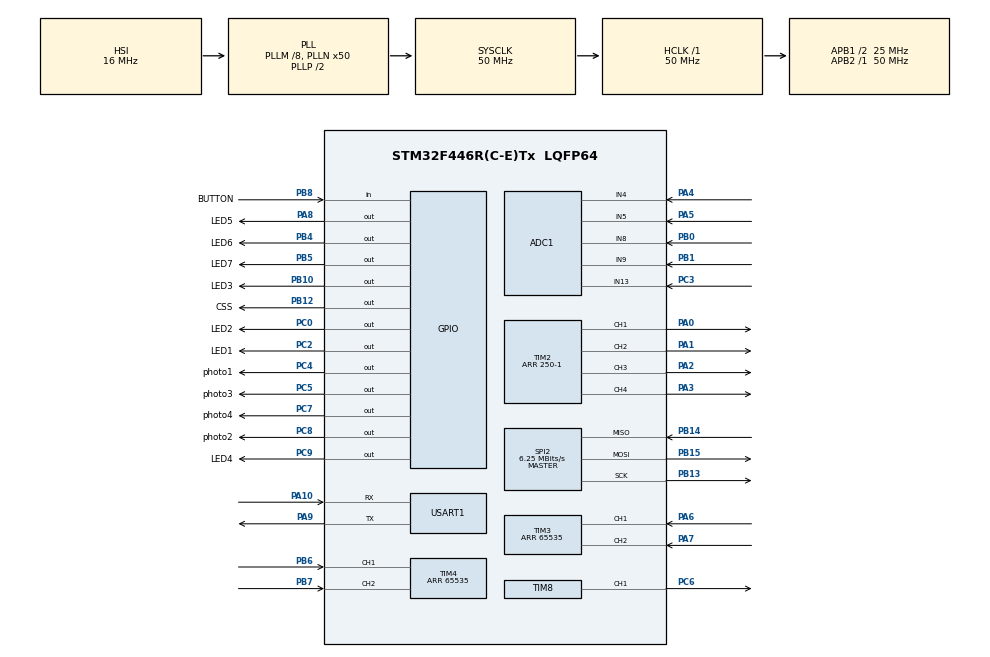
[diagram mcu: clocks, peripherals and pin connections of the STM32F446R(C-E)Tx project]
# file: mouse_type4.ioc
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ADC1.Channel-0\#ChannelRegularConversion=ADC_CHANNEL_13
ADC1.Channel-1\#ChannelRegularConversion=ADC_CHANNEL_8
ADC1.Channel-2\#ChannelRegularConversion=ADC_CHANNEL_8
ADC1.Channel-3\#ChannelRegularConversion=ADC_CHANNEL_5
ADC1.Channel-4\#ChannelRegularConversion=ADC_CHANNEL_5
ADC1.Channel-5\#ChannelRegularConversion=ADC_CHANNEL_9
ADC1.Channel-6\#ChannelRegularConversion=ADC_CHANNEL_9
ADC1.Channel-7\#ChannelRegularConversion=ADC_CHANNEL_4
ADC1.Channel-8\#ChannelRegularConversion=ADC_CHANNEL_4
ADC1.Channel-9\#ChannelRegularConversion=ADC_CHANNEL_13
ADC1.ContinuousConvMode=DISABLE
ADC1.DMAContinuousRequests=ENABLE
ADC1.DiscontinuousConvMode=ENABLE
ADC1.EOCSelection=ADC_EOC_SEQ_CONV
ADC1.EnableAnalogWatchDog=true
ADC1.ExternalTrigConv=ADC_EXTERNALTRIGCONV_T1_CC3
ADC1.ExternalTrigConvEdge=ADC_EXTERNALTRIGCONVEDGE_FALLING
ADC1.InjNumberOfConversion=0
ADC1.NbrOfConversion=10
ADC1.NbrOfConversionFlag=1
ADC1.Rank-0\#ChannelRegularConversion=1
ADC1.Rank-1\#ChannelRegularConversion=2
ADC1.Rank-2\#ChannelRegularConversion=3
ADC1.Rank-3\#ChannelRegularConversion=4
ADC1.Rank-4\#ChannelRegularConversion=5
ADC1.Rank-5\#ChannelRegularConversion=6
ADC1.Rank-6\#ChannelRegularConversion=7
ADC1.Rank-7\#ChannelRegularConversion=8
ADC1.Rank-8\#ChannelRegularConversion=9
ADC1.Rank-9\#ChannelRegularConversion=10
ADC1.SamplingTime-0\#ChannelRegularConversion=ADC_SAMPLETIME_28CYCLES
ADC1.SamplingTime-1\#ChannelRegularConversion=ADC_SAMPLETIME_28CYCLES
ADC1.SamplingTime-2\#ChannelRegularConversion=ADC_SAMPLETIME_28CYCLES
ADC1.SamplingTime-3\#ChannelRegularConversion=ADC_SAMPLETIME_28CYCLES
ADC1.SamplingTime-4\#ChannelRegularConversion=ADC_SAMPLETIME_28CYCLES
ADC1.SamplingTime-5\#ChannelRegularConversion=ADC_SAMPLETIME_28CYCLES
ADC1.SamplingTime-6\#ChannelRegularConversion=ADC_SAMPLETIME_28CYCLES
ADC1.SamplingTime-7\#ChannelRegularConversion=ADC_SAMPLETIME_28CYCLES
ADC1.SamplingTime-8\#ChannelRegularConversion=ADC_SAMPLETIME_28CYCLES
ADC1.SamplingTime-9\#ChannelRegularConversion=ADC_SAMPLETIME_28CYCLES
ADC1.WatchdogChannel=ADC_CHANNEL_4
ADC1.master=1
Dma.ADC1.4.Direction=DMA_PERIPH_TO_MEMORY
Dma.ADC1.4.FIFOMode=DMA_FIFOMODE_DISABLE
Dma.ADC1.4.Instance=DMA2_Stream0
Dma.ADC1.4.MemDataAlignment=DMA_MDATAALIGN_HALFWORD
Dma.ADC1.4.MemInc=DMA_MINC_ENABLE
Dma.ADC1.4.Mode=DMA_CIRCULAR
Dma.ADC1.4.PeriphDataAlignment=DMA_PDATAALIGN_HALFWORD
Dma.ADC1.4.PeriphInc=DMA_PINC_DISABLE
Dma.ADC1.4.Priority=DMA_PRIORITY_HIGH
Dma.Request0=SPI2_RX
Dma.Request1=SPI2_TX
Dma.Request2=TIM1_CH1
Dma.Request3=TIM1_CH2
Dma.Request4=ADC1
Dma.SPI2_RX.0.Direction=DMA_PERIPH_TO_MEMORY
Dma.SPI2_RX.0.FIFOMode=DMA_FIFOMODE_DISABLE
Dma.SPI2_RX.0.Instance=DMA1_Stream3
Dma.SPI2_RX.0.MemDataAlignment=DMA_MDATAALIGN_BYTE
Dma.SPI2_RX.0.MemInc=DMA_MINC_ENABLE
Dma.SPI2_RX.0.Mode=DMA_NORMAL
Dma.SPI2_RX.0.PeriphDataAlignment=DMA_PDATAALIGN_BYTE
Dma.SPI2_RX.0.PeriphInc=DMA_PINC_DISABLE
Dma.SPI2_RX.0.Priority=DMA_PRIORITY_VERY_HIGH
Dma.SPI2_TX.1.Direction=DMA_MEMORY_TO_PERIPH
Dma.SPI2_TX.1.FIFOMode=DMA_FIFOMODE_DISABLE
Dma.SPI2_TX.1.Instance=DMA1_Stream4
Dma.SPI2_TX.1.MemDataAlignment=DMA_MDATAALIGN_BYTE
Dma.SPI2_TX.1.MemInc=DMA_MINC_ENABLE
Dma.SPI2_TX.1.Mode=DMA_NORMAL
Dma.SPI2_TX.1.PeriphDataAlignment=DMA_PDATAALIGN_BYTE
Dma.SPI2_TX.1.PeriphInc=DMA_PINC_DISABLE
Dma.SPI2_TX.1.Priority=DMA_PRIORITY_VERY_HIGH
Dma.TIM1_CH1.2.Direction=DMA_MEMORY_TO_PERIPH
Dma.TIM1_CH1.2.FIFOMode=DMA_FIFOMODE_DISABLE
Dma.TIM1_CH1.2.Instance=DMA2_Stream1
Dma.TIM1_CH1.2.MemDataAlignment=DMA_MDATAALIGN_WORD
Dma.TIM1_CH1.2.MemInc=DMA_MINC_ENABLE
Dma.TIM1_CH1.2.Mode=DMA_CIRCULAR
Dma.TIM1_CH1.2.PeriphDataAlignment=DMA_PDATAALIGN_WORD
Dma.TIM1_CH1.2.PeriphInc=DMA_PINC_DISABLE
Dma.TIM1_CH1.2.Priority=DMA_PRIORITY_HIGH
Dma.TIM1_CH2.3.Direction=DMA_MEMORY_TO_PERIPH
Dma.TIM1_CH2.3.FIFOMode=DMA_FIFOMODE_DISABLE
Dma.TIM1_CH2.3.Instance=DMA2_Stream2
Dma.TIM1_CH2.3.MemDataAlignment=DMA_MDATAALIGN_WORD
Dma.TIM1_CH2.3.MemInc=DMA_MINC_ENABLE
Dma.TIM1_CH2.3.Mode=DMA_CIRCULAR
Dma.TIM1_CH2.3.PeriphDataAlignment=DMA_PDATAALIGN_WORD
Dma.TIM1_CH2.3.PeriphInc=DMA_PINC_DISABLE
Dma.TIM1_CH2.3.Priority=DMA_PRIORITY_HIGH
Mcu.Family=STM32F4
Mcu.Name=STM32F446R(C-E)Tx
Mcu.Package=LQFP64
NVIC.DMA1_Stream3_IRQn=true\:0\:0\:true\:false\:true\:false\:true
NVIC.DMA1_Stream4_IRQn=true\:0\:0\:true\:false\:true\:false\:true
NVIC.DMA2_Stream0_IRQn=true\:0\:0\:false\:false\:true\:false\:true
NVIC.DMA2_Stream1_IRQn=true\:0\:0\:false\:false\:true\:false\:true
NVIC.DMA2_Stream2_IRQn=true\:0\:0\:false\:false\:true\:false\:true
NVIC.PriorityGroup=NVIC_PRIORITYGROUP_4
NVIC.TIM5_IRQn=true\:0\:0\:false\:false\:true\:true\:true
PA0-WKUP.Signal=S_TIM2_CH1_ETR
PA1.Signal=S_TIM2_CH2
PA10.Mode=Asynchronous
PA10.Signal=USART1_RX
PA2.Signal=S_TIM2_CH3
PA3.Signal=S_TIM2_CH4
PA4.Signal=ADCx_IN4
PA5.Signal=ADCx_IN5
PA6.Signal=S_TIM3_CH1
PA7.Signal=S_TIM3_CH2
PA8.GPIO_Label=LED5
PA8.Signal=GPIO_Output
PA9.Mode=Asynchronous
PA9.Signal=USART1_TX
PB0.Signal=ADCx_IN8
PB1.Signal=ADCx_IN9
PB10.GPIO_Label=LED3
PB10.Signal=GPIO_Output
PB12.GPIO_Label=CSS
PB12.Signal=GPIO_Output
PB13.Mode=Full_Duplex_Master
PB13.Signal=SPI2_SCK
PB14.Mode=Full_Duplex_Master
PB14.Signal=SPI2_MISO
PB15.Mode=Full_Duplex_Master
PB15.Signal=SPI2_MOSI
PB4.GPIO_Label=LED6
PB4.Signal=GPIO_Output
PB5.GPIO_Label=LED7
PB5.Signal=GPIO_Output
PB6.Signal=S_TIM4_CH1
PB7.Signal=S_TIM4_CH2
PB8.GPIO_Label=BUTTON
PB8.Signal=GPIO_Input
PC0.GPIO_Label=LED2
PC0.Signal=GPIO_Output
PC2.GPIO_Label=LED1
PC2.Signal=GPIO_Output
PC3.Signal=ADCx_IN13
PC4.GPIO_Label=photo1
PC4.Signal=GPIO_Output
PC5.GPIO_Label=photo3
PC5.Signal=GPIO_Output
PC6.Signal=S_TIM8_CH1
PC7.GPIO_Label=photo4
PC7.Signal=GPIO_Output
PC8.GPIO_Label=photo2
PC8.Signal=GPIO_Output
PC9.GPIO_Label=LED4
PC9.Signal=GPIO_Output
ProjectManager.HeapSize=0x200
ProjectManager.StackSize=0x400
ProjectManager.TargetToolchain=STM32CubeIDE
RCC.AHBFreq_Value=50000000
RCC.APB1CLKDivider=RCC_HCLK_DIV2
RCC.APB1Freq_Value=25000000
RCC.APB1TimFreq_Value=50000000
RCC.APB2Freq_Value=50000000
RCC.APB2TimFreq_Value=50000000
RCC.CortexFreq_Value=50000000
RCC.HCLKFreq_Value=50000000
RCC.PLLM=8
RCC.PLLN=50
RCC.SYSCLKFreq_VALUE=50000000
RCC.SYSCLKSource=RCC_SYSCLKSOURCE_PLLCLK
RCC.USBFreq_Value=50000000
RCC.VCOOutputFreq_Value=100000000
SH.ADCx_IN13.0=ADC1_IN13,IN13
SH.ADCx_IN4.0=ADC1_IN4,IN4
SH.ADCx_IN5.0=ADC1_IN5,IN5
SH.ADCx_IN8.0=ADC1_IN8,IN8
SH.ADCx_IN9.0=ADC1_IN9,IN9
SH.S_TIM2_CH1_ETR.0=TIM2_CH1,PWM Generation1 CH1
SH.S_TIM2_CH2.0=TIM2_CH2,PWM Generation2 CH2
SH.S_TIM2_CH3.0=TIM2_CH3,PWM Generation3 CH3
SH.S_TIM2_CH4.0=TIM2_CH4,PWM Generation4 CH4
SH.S_TIM3_CH1.0=TIM3_CH1,Encoder_Interface
SH.S_TIM3_CH2.0=TIM3_CH2,Encoder_Interface
SH.S_TIM4_CH1.0=TIM4_CH1,Encoder_Interface
SH.S_TIM4_CH2.0=TIM4_CH2,Encoder_Interface
SH.S_TIM8_CH1.0=TIM8_CH1,PWM Generation1 CH1
SPI2.BaudRatePrescaler=SPI_BAUDRATEPRESCALER_4
SPI2.CLKPhase=SPI_PHASE_2EDGE
SPI2.CLKPolarity=SPI_POLARITY_HIGH
SPI2.CalculateBaudRate=6.25 MBits/s
SPI2.Direction=SPI_DIRECTION_2LINES
SPI2.Mode=SPI_MODE_MASTER
SPI2.VirtualType=VM_MASTER
TIM1.Channel-PWM\ Generation1\ No\ Output=TIM_CHANNEL_1
TIM1.Channel-PWM\ Generation2\ No\ Output=TIM_CHANNEL_2
TIM1.Channel-PWM\ Generation3\ No\ Output=TIM_CHANNEL_3
TIM1.Period=1000-1
TIM1.Prescaler=5-1
TIM1.Pulse-PWM\ Generation1\ No\ Output=2-1
TIM1.Pulse-PWM\ Generation2\ No\ Output=252-1
TIM1.Pulse-PWM\ Generation3\ No\ Output=202-1
TIM2.Channel-PWM\ Generation1\ CH1=TIM_CHANNEL_1
TIM2.Channel-PWM\ Generation2\ CH2=TIM_CHANNEL_2
TIM2.Channel-PWM\ Generation3\ CH3=TIM_CHANNEL_3
TIM2.Channel-PWM\ Generation4\ CH4=TIM_CHANNEL_4
TIM2.Period=250-1
TIM3.EncoderMode=TIM_ENCODERMODE_TI12
TIM3.Period=65535
TIM4.EncoderMode=TIM_ENCODERMODE_TI12
TIM4.Period=65535
TIM5.Channel-PWM\ Generation1\ No\ Output=TIM_CHANNEL_1
TIM5.Period=1000-1
TIM5.Prescaler=50-1
TIM8.Channel-PWM\ Generation1\ CH1=TIM_CHANNEL_1
TIM8.Period=250-1
USART1.VirtualMode=VM_ASYNC
VP_TIM1_VS_ClockSourceINT.Mode=Internal
VP_TIM1_VS_no_output1.Mode=PWM Generation1 No Output
VP_TIM1_VS_no_output2.Mode=PWM Generation2 No Output
VP_TIM1_VS_no_output3.Mode=PWM Generation3 No Output
VP_TIM2_VS_ClockSourceINT.Mode=Internal
VP_TIM5_VS_ClockSourceINT.Mode=Internal
VP_TIM5_VS_no_output1.Mode=PWM Generation1 No Output
VP_TIM8_VS_ClockSourceINT.Mode=Internal
board=custom

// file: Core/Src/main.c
/* USER CODE BEGIN Header */
/**
  ******************************************************************************
  * @file           : main.c
  * @brief          : Main program body
  ******************************************************************************
  * @attention
  *
  * <h2><center>&copy; Copyright (c) 2022 STMicroelectronics.
  * All rights reserved.</center></h2>
  *
  * This software component is licensed by ST under BSD 3-Clause license,
  * the "License"; You may not use this file except in compliance with the
  * License. You may obtain a copy of the License at:
  *                        opensource.org/licenses/BSD-3-Clause
  *
  ******************************************************************************
  */
/* USER CODE END Header */

#include "main.h"
#include "adc.h"
#include "dma.h"
#include "spi.h"
#include "tim.h"
#include "usart.h"
#include "gpio.h"

/* USER CODE BEGIN Includes */
#include <stdio.h>
#include "index.h"
#include "glob_var.h"
#include "run_param.h"
#include "icm_20648.h"
#include "run_param.h"
#include "operation_check.h"
#include "dijkstra.h"
#include "kalman_filter.h"
/* USER CODE END Includes */

void SystemClock_Config(void);

int main(void)
{

  /* MCU Configuration--------------------------------------------------------*/

  /* Reset of all peripherals, Initializes the Flash interface and the Systick. */
  HAL_Init();

  /* Configure the system clock */
  SystemClock_Config();

  /* Initialize all configured peripherals */
  MX_GPIO_Init();
  MX_DMA_Init();
  MX_ADC1_Init();
  MX_SPI2_Init();
  MX_TIM1_Init();
  MX_TIM2_Init();
  MX_TIM3_Init();
  MX_TIM4_Init();
  MX_TIM8_Init();
  MX_USART1_UART_Init();
  MX_TIM5_Init();
  /* USER CODE BEGIN 2 */
  HAL_Delay(200);
  setbuf(stdout, NULL);
  HAL_GPIO_WritePin(CSS_GPIO_Port, CSS_Pin, 1);
  imu_initialize();
  IMU_read_DMA_Start();
  Encoder_Initialize();		//tim3,4
  Sensor_Initialize();		//tim1
  Interrupt_Initialize();	//tim5
  Motor_Initialize();		//tim2
  FAN_Motor_Initialize();	//tim8
  init_maze();

  int sx[1] = {0};		int sy[1] = {0};
  int gx[MAZE_GOAL_SIZE];	int gy[MAZE_GOAL_SIZE];
  for(int i = 0;i < MAZE_GOAL_SIZE;i++){
	  gx[i] = MAZE_GOAL_X + i;
	  gy[i] = MAZE_GOAL_Y + i;
  }

  enable_lsm = true;

  /* USER CODE END 2 */

  /* Infinite loop */
  while (1)
  {

    /* USER CODE BEGIN 3 */
	  HAL_Delay(10);
	  Mode_Change_ENC();
	  Battery_LimiterVoltage();
	  switch((uint8_t)is_mode_enable << 4|mouse_mode){
	  	  case (MOUSE_ENABLE|0x00):
				//Suction_start((int16_t)((5.0)/Battery_GetVoltage()*1000.0));
	  		  	//Suction_start((int16_t)((5.0)/Battery_GetVoltage()*1000.0));
	  			while(Button_Read() != true){
	  				printf("fr:%4d,fl:%4d,sr:%4d,sl%4d,battery:%.2f\n",Sensor_GetValue(sensor_fr),Sensor_GetValue(sensor_fl),Sensor_GetValue(sensor_sr),Sensor_GetValue(sensor_sl),Battery_GetVoltage());
	  				printf("fr:%f,fl:%f\n",sen_fr.distance,sen_fl.distance);
		  		  	//if(Mode_Start_photo_Sens()) Suction_start((int16_t)((5.0)/Battery_GetVoltage()*1000.0));
	  				HAL_Delay(10);
	  			}
	  			Suction_Stop();

	  			is_mode_enable = false;
	  			break;
	  	  case (MOUSE_ENABLE|0x01):
	  			if(Mode_Start_photo_Sens())
	  			{
	  				Check_LED_Toggle(5);
	  				Set_Velo_PID_Gain(12.0,0.2,0.0);//14.0,0.1,0.0;
	  				Set_Omega_PID_Gain(0.4f, 0.001f, 0.0f);
	  				Set_PID_Gain(&(wall_controll.side_om_wall_gain), 0.15, 0.0, 0.02);
	  				Sp_Param_Initialize(&machine);
	  				Sp_Param_Initialize(&target);
	  				Sp_Param_Initialize(&max_set);
	  				Suction_start((int16_t)((8.0)/Battery_GetVoltage()*1000.0));HAL_Delay(300);
	  				wall_controll.is_controll = true;
	  				//wall_controll.is_controll = false;
	  				log_flag = true;time = 0;
	  				//slalom_check(&st_param_1000,mode_1000,Turn_in_L45);
	  				//straight(90.0*7+15.0,25.0,4.0,0.0);
	  				//slalom_check(&st_param_1200,mode_1200,Long_turnR180);
	  				//long_turn(mode_1200[Long_turnR180], &st_param_1200);
	  				//straight(90.0*1,4.0,0.3,0.0);
	  				straight(90.0*8,25.0,3.8,0.0);
	  				//slalom_check_R90();
	  				//set_stop_wall(2000);

	  				wall_controll.is_controll = false;
	  				Suction_Stop();
	  				log_flag = false;
	  				is_mode_enable = false;
	  			}
	  			break;
	  	  case (MOUSE_ENABLE|0x02):
	  			if(Mode_Start_photo_Sens())
	  			{
	  				Check_LED_Toggle(5);

	  				printf("target_velo,velo,target_rad_velo,rad_velo\n");
	  				HAL_Delay(2);
	  				for(int i = 0;i < LOG_COUNT;i++){
	  					printf("%.3f,%.3f,",log_data[0][i],log_data[1][i]);
	  					HAL_Delay(3);
	  					printf("%.3f,%.3f,",log_data[2][i],log_data[3][i]);
	  					HAL_Delay(3);
	  					printf("%.3f,%.3f,",log_data[4][i],log_data[5][i]);
	  					HAL_Delay(3);
	  					printf("%.3f,%.3f,\n",log_data[6][i],log_data[7][i]);
	  					HAL_Delay(3);
	  				}

	  				//disp_map();

	  				is_mode_enable = false;
	  			}
	  			break;
	  	  case (MOUSE_ENABLE|0x03):
	  			 if(Mode_Start_photo_Sens())
	  			 {

		  				Check_LED_Toggle(5);
		  				Set_Velo_PID_Gain(12.0,0.05,0.0);//14.0,0.1,0.0;
		  				Set_Omega_PID_Gain(0.1f, 0.01f, 0.0f);
		  				Set_PID_Gain(&(wall_controll.side_om_wall_gain), 0.15, 0.0, 0.02);
		  				Sp_Param_Initialize(&machine);
		  				Sp_Param_Initialize(&target);
		  				Sp_Param_Initialize(&max_set);
		  				Suction_start((int16_t)((8.0)/Battery_GetVoltage()*1000.0));HAL_Delay(300);
		  				wall_controll.is_controll = true;
		  				log_flag = true;time = 0;
		  				slalom_check(&st_param_1200,mode_1200,Turn_in_R45);
		  				//slalom_check_L90();
		  				wall_controll.is_controll = false;
		  				Suction_Stop();
		  				log_flag = false;
		  				is_mode_enable = false;
	  			 }
	  			break;
	  	  case (MOUSE_ENABLE|0x04):
	  		  	 if(Mode_Start_photo_Sens())
	  			 {
		  				Check_LED_Toggle(5);
		  				Set_Velo_PID_Gain(12.0,0.05,0.0);//14.0,0.1,0.0;
		  				Set_Omega_PID_Gain(0.1f, 0.01f, 0.0f);
		  				Set_PID_Gain(&(wall_controll.side_om_wall_gain), 0.15, 0.0, 0.02);
		  				Sp_Param_Initialize(&machine);
		  				Sp_Param_Initialize(&target);
		  				Sp_Param_Initialize(&max_set);
		  				Suction_start((int16_t)((9.0)/Battery_GetVoltage()*1000.0));HAL_Delay(300);
		  				wall_controll.is_controll = true;
		  				log_flag = true;time = 0;
		  				//slalom_check_R90();
		  				slalom_check(&st_param_1200,mode_1200,Turn_in_R135);
		  				wall_controll.is_controll = false;
		  				Suction_Stop();
		  				log_flag = false;
		  				is_mode_enable = false;
	  		  	 }
	  	  	  	HAL_Delay(10);
	  			break;
	  	  case (MOUSE_ENABLE|0x05):

  		  		if(Mode_Start_photo_Sens())
  			  	{
	  				 Check_LED_Toggle(5);
		  			 Sp_Param_Initialize(&machine);
		  			 Sp_Param_Initialize(&target);
		  			 Sp_Param_Initialize(&max_set);
		  			 filter_init();
					 mypos.x = mypos.y = 0;
					 mypos.dir = north;
					 Set_Omega_PID_Gain(om_gain_search_straight.Kp, om_gain_search_straight.Ki, om_gain_search_straight.Kd);
					 Set_Velo_PID_Gain(sp_gain_search_straight.Kp, sp_gain_search_straight.Ki, sp_gain_search_straight.Kd);
					 const t_straight_param *stmode = &st_param_300;
					 //Suction_start((int16_t)((5.0)/Battery_GetVoltage()*1000.0));HAL_Delay(300);
					 straight(15.0,stmode->param->acc,stmode->param->max_velo,stmode->param->max_velo);
					 goal_set_vwall(gx, gy,MAZE_GOAL_SIZE);
					 //search_adachi3(gx, gy,MAZE_GOAL_SIZE);
					 search_adachi4(gx,gy,MAZE_GOAL_SIZE,
							 	 	&st_param_300		,&st_param_600,
									&param_L90_search	,&param_R90_search);

					 //Suction_Stop();HAL_Delay(100);
					 save_data();
					 HAL_Delay(100);
					 search_adachi_zenmen3(sx, sy,1);
					 save_data();
					 HAL_Delay(100);
		 			 Set_Omega_PID_Gain(0.6f, 0.01f, 0.0f);
			  		 Set_Velo_PID_Gain(12.0f, 0.1f, 0.0f);
		  			 Spin_turn(DEG2RAD(180.0), 20.0*PI, 2.0*PI, turn_left);
		  			 mypos.dir = (mypos.dir + 2 + 4) % 4;
					 HAL_Delay(100);
					 run_mode = NON_CON_MODE;
					 goal_clear_vwall(gx, gy,MAZE_GOAL_SIZE);
			  		 is_mode_enable = false;
  			  	}

  			  			/*
	  			if(Mode_Start_photo_Sens())
	  			{
	   				Check_LED_Toggle(5);
	  				Set_Velo_PID_Gain(12.0,0.05,0.0);//14.0,0.1,0.0;
	  				Set_Omega_PID_Gain(0.1f, 0.01f, 0.0f);
	  			  	Set_PID_Gain(&(wall_controll.side_om_wall_gain), 0.15, 0.0, 0.02);
	  			  	Sp_Param_Initialize(&machine);
	  			  	Sp_Param_Initialize(&target);
	  			  	Sp_Param_Initialize(&max_set);
	  			  	Suction_start((int16_t)((4.2)/Battery_GetVoltage()*1000.0));HAL_Delay(300);
	  			  	wall_controll.is_controll = true;
	  			  	log_flag = true;time = 0;
	  			  	slalom_check(&st_param_1200,mode_1200,Turn_in_R45);
	  			  	wall_controll.is_controll = false;
	  			  	Suction_Stop();
	  			  	log_flag = false;
	  			  	is_mode_enable = false;
	  		  	}
	  		  	*/
	  	  	  	HAL_Delay(10);
	  			break;
	  	  case (MOUSE_ENABLE|0x06):
	  		  			if(Mode_Start_photo_Sens())
	  		  			{
	  		   				Check_LED_Toggle(5);
	  		  				Set_Velo_PID_Gain(12.0,0.05,0.0);//14.0,0.1,0.0;
	  		  				Set_Omega_PID_Gain(0.1f, 0.01f, 0.0f);
	  		  			  	Set_PID_Gain(&(wall_controll.side_om_wall_gain), 0.15, 0.0, 0.02);
	  		  			  	Sp_Param_Initialize(&machine);
	  		  			  	Sp_Param_Initialize(&target);
	  		  			  	Sp_Param_Initialize(&max_set);
	  		  			  	Suction_start((int16_t)((6.0)/Battery_GetVoltage()*1000.0));HAL_Delay(300);
	  		  			  	wall_controll.is_controll = true;
	  		  			  	log_flag = true;time = 0;
	  		  			  	slalom_check(&st_param_1200,mode_1200,Long_turnR180);
	  		  			  	wall_controll.is_controll = false;
	  		  			  	Suction_Stop();
	  		  			  	log_flag = false;
	  		  			  	is_mode_enable = false;
	  		  		  	}
	  		  	  	  	HAL_Delay(10);
	  			break;
	  	  case (MOUSE_ENABLE|0x07):
  		  		if(Mode_Start_photo_Sens())
  		  		{
  		  			Check_LED_Toggle(5);
  		  			t_position start_pos = make_position(0,0,center);
		  			Sp_Param_Initialize(&machine);
		  			Sp_Param_Initialize(&target);
		  			Sp_Param_Initialize(&max_set);
		  			Set_PID_Gain(&(wall_controll.side_om_wall_gain), 0.2, 0.0, 0.01);
	  				Set_Omega_PID_Gain(0.6f, 0.01f, 0.0f);
		  			Set_Velo_PID_Gain(15.0f, 0.1f, 0.0f);
		  			filter_init();
		  			Suction_start((int16_t)((7.5)/Battery_GetVoltage()*1000.0));
  		  			printf("%d\n",(int)(sizeof(st_mode_500_v1)/sizeof(t_straight_param *const)));
  		  		    //log_flag = true;time = 0;
  		  			run_dijkstra(	st_mode_1000_v2, (int)(sizeof(st_mode_1000_v2)/sizeof(t_straight_param *const)),
  		  							di_mode_1000_v1, (int)(sizeof(di_mode_1000_v1)/sizeof(t_straight_param *const)),
									mode_1000,
									start_pos, north, gx, gy, MAZE_GOAL_SIZE);
		  			HAL_Delay(100);
		  			Suction_Stop();
  		  			is_mode_enable = false;
  		  			Sp_Param_Initialize(&machine);
  		  			Sp_Param_Initialize(&target);
  		  			Sp_Param_Initialize(&max_set);
  		  		}
	  			break;
	  	  case (MOUSE_ENABLE|0x08):
  		  		if(Mode_Start_photo_Sens())
  		  		{
  		  			Check_LED_Toggle(5);
					write_save_data();
					NVIC_SystemReset();
					is_mode_enable = false;
  		  		}
	  			break;
	  	  case (MOUSE_ENABLE|0x09):
  		  		if(Mode_Start_photo_Sens())
  		  		{
  		  		  	Check_LED_Toggle(5);
  		  		  	read_save_data();
  		  		  	HAL_Delay(10);
  		  			is_mode_enable = false;
  		  		}
	  			break;
	  	  case (MOUSE_ENABLE|0x0A):
  		  		if(Mode_Start_photo_Sens())
  		  		{
  		  			HAL_Delay(10);
  		  			disp_map();
  		  			is_mode_enable = false;
  		  		}
	  			break;
	  	  case (MOUSE_ENABLE|0x0B):
  		  		if(Mode_Start_photo_Sens())
  		  		{
  		   			Check_LED_Toggle(5);
  		  			t_position start_pos = make_position(0,0,center);
  		  			Sp_Param_Initialize(&machine);
  		  			Sp_Param_Initialize(&target);
  		  			Sp_Param_Initialize(&max_set);
  					Set_PID_Gain(&(wall_controll.side_om_wall_gain), 0.15, 0.0, 0.0);
  			  		Set_Omega_PID_Gain(0.6f, 0.01f, 0.0f);
  				  	Set_Velo_PID_Gain(15.0f, 0.1f, 0.0f);
  				  	filter_init();
  				  	//Suction_start((int16_t)((6.0)/Battery_GetVoltage()*1000.0));
  		  		  	printf("%d\n",(int)(sizeof(st_mode_1000_v0)/sizeof(t_straight_param *const)));
  		  		  	run_dijkstra(	st_mode_700_no_suction, (int)(sizeof(st_mode_700_no_suction)/sizeof(t_straight_param *const)),
  		  		  					di_mode_700_no_suction, (int)(sizeof(di_mode_700_no_suction)/sizeof(t_straight_param *const)),
									mode_700_no_suction,
									start_pos, north, gx, gy, MAZE_GOAL_SIZE);
  				  	HAL_Delay(100);
  				  	//Suction_Stop();
  		  		  	is_mode_enable = false;
  		  			Sp_Param_Initialize(&machine);
  		  			Sp_Param_Initialize(&target);
  		  			Sp_Param_Initialize(&max_set);
  		  			HAL_Delay(300);
  		  		}
	  	  	  	HAL_Delay(1);
	  			break;
	  	  case (MOUSE_ENABLE|0x0C):
  		  		  		if(Mode_Start_photo_Sens())
  		  		  		{
  		  		   			Check_LED_Toggle(5);
  		  		  			t_position start_pos = make_position(0,0,center);
  		  		  			Sp_Param_Initialize(&machine);
  		  		  			Sp_Param_Initialize(&target);
  		  		  			Sp_Param_Initialize(&max_set);
  		  					Set_PID_Gain(&(wall_controll.side_om_wall_gain), 0.2, 0.0, 0.01);
  		  			  		Set_Omega_PID_Gain(0.6f, 0.01f, 0.0f);
  		  				  	Set_Velo_PID_Gain(15.0f, 0.1f, 0.0f);
  		  				  	filter_init();
  		  				  	Suction_start((int16_t)((9.0)/Battery_GetVoltage()*1000.0));
  		  		  		  	printf("%d\n",(int)(sizeof(st_mode_1200_v0)/sizeof(t_straight_param *const)));
  		  		  		  	run_dijkstra(	st_mode_1300_v1, (int)(sizeof(st_mode_1300_v1)/sizeof(t_straight_param *const)),
  		  		  		  					di_mode_1300_v1, (int)(sizeof(di_mode_1300_v1)/sizeof(t_straight_param *const)),
  											mode_1300,
  											start_pos, north, gx, gy, MAZE_GOAL_SIZE);
  		  				  	HAL_Delay(100);
  		  				  	Suction_Stop();
  		  		  		  	is_mode_enable = false;
  		  		  			Sp_Param_Initialize(&machine);
  		  		  			Sp_Param_Initialize(&target);
  		  		  			Sp_Param_Initialize(&max_set);
  		  		  			HAL_Delay(300);
  		  		  		}
  			  	  	  	HAL_Delay(1);
	  	  case (MOUSE_ENABLE|0x0D):
  		  		  		if(Mode_Start_photo_Sens())
  		  		  		{
  		  		  			Check_LED_Toggle(5);
  		  		  			t_position start_pos = make_position(0,0,center);
  				  			Sp_Param_Initialize(&machine);
  				  			Sp_Param_Initialize(&target);
  				  			Sp_Param_Initialize(&max_set);
  				  			Set_PID_Gain(&(wall_controll.side_om_wall_gain), 0.2, 0.0, 0.01);
  			  				Set_Omega_PID_Gain(0.6f, 0.01f, 0.0f);
  				  			Set_Velo_PID_Gain(15.0f, 0.1f, 0.0f);
  				  			filter_init();
  				  			Suction_start((int16_t)((7.5)/Battery_GetVoltage()*1000.0));
  		  		  			printf("%d\n",(int)(sizeof(st_mode_500_v1)/sizeof(t_straight_param *const)));
  		  		  		    //log_flag = true;time = 0;
  		  		  			run_dijkstra(	st_mode_1000_v1, (int)(sizeof(st_mode_1000_v1)/sizeof(t_straight_param *const)),
  		  		  							di_mode_1000_v1, (int)(sizeof(di_mode_1000_v1)/sizeof(t_straight_param *const)),
  											mode_1000,
  											start_pos, north, gx, gy, MAZE_GOAL_SIZE);
  				  			HAL_Delay(100);
  				  			Suction_Stop();
  		  		  			is_mode_enable = false;
  		  		  			Sp_Param_Initialize(&machine);
  		  		  			Sp_Param_Initialize(&target);
  		  		  			Sp_Param_Initialize(&max_set);
  		  		  			HAL_Delay(300);
  		  		  		}
  			  			break;
	  	  case (MOUSE_ENABLE|0x0E):
  		  		  		if(Mode_Start_photo_Sens())
  		  		  		{
  		  		  			Check_LED_Toggle(5);
  		  		  			t_position start_pos = make_position(0,0,center);
  		  		  			Sp_Param_Initialize(&machine);
  		  		  			Sp_Param_Initialize(&target);
   		  		  			Sp_Param_Initialize(&max_set);
   		  					Set_PID_Gain(&(wall_controll.side_om_wall_gain), 0.2, 0.0, 0.01);
  		  			  		Set_Omega_PID_Gain(0.6f, 0.01f, 0.0f);
   		  				  	Set_Velo_PID_Gain(15.0f, 0.1f, 0.0f);
  		  				  	filter_init();
  		  		  		  	Suction_start((int16_t)((9.0)/Battery_GetVoltage()*1000.0));
  		  		  		  	printf("%d\n",(int)(sizeof(st_mode_1200_v0)/sizeof(t_straight_param *const)));
  		   		  		  	run_dijkstra(	st_mode_1200_v1, (int)(sizeof(st_mode_1200_v1)/sizeof(t_straight_param *const)),
  		   		  		  					di_mode_1200_v1, (int)(sizeof(di_mode_1200_v1)/sizeof(t_straight_param *const)),
  		  									mode_1200,
											start_pos, north, gx, gy, MAZE_GOAL_SIZE);
  		  		  			HAL_Delay(100);
  		  		  		  	Suction_Stop();
  		  		   		  	is_mode_enable = false;
  		  		  			Sp_Param_Initialize(&machine);
  		  		  			Sp_Param_Initialize(&target);
  		  		  			Sp_Param_Initialize(&max_set);
  		  		  			HAL_Delay(300);
   		  		  		}
	  			break;
	  	  case (MOUSE_ENABLE|0x0F):
  		  		  		  		if(Mode_Start_photo_Sens())
  		  		  		  		{
  		  		  		  			Check_LED_Toggle(5);
  		  		  		  			t_position start_pos = make_position(0,0,center);
  		  		  		  			Sp_Param_Initialize(&machine);
  		  		  		  			Sp_Param_Initialize(&target);
  		   		  		  			Sp_Param_Initialize(&max_set);
  		   		  					Set_PID_Gain(&(wall_controll.side_om_wall_gain), 0.2, 0.0, 0.01);
  		  		  			  		Set_Omega_PID_Gain(0.6f, 0.01f, 0.0f);
  		   		  				  	Set_Velo_PID_Gain(15.0f, 0.1f, 0.0f);
  		  		  				  	filter_init();
  		  		  		  		  	Suction_start((int16_t)((9.0)/Battery_GetVoltage()*1000.0));
  		  		  		  		  	printf("%d\n",(int)(sizeof(st_mode_1200_v0)/sizeof(t_straight_param *const)));
  		  		   		  		  	run_dijkstra(	st_mode_1200_v3, (int)(sizeof(st_mode_1200_v3)/sizeof(t_straight_param *const)),
  		  		   		  		  					di_mode_1200_v3, (int)(sizeof(di_mode_1200_v3)/sizeof(t_straight_param *const)),
  		  		  									mode_1200,
  													start_pos, north, gx, gy, MAZE_GOAL_SIZE);
  		  		  		  			HAL_Delay(100);
  		  		  		  		  	Suction_Stop();
  		  		  		   		  	is_mode_enable = false;
  		  		  		  			Sp_Param_Initialize(&machine);
  		  		  		  			Sp_Param_Initialize(&target);
  		  		  		  			Sp_Param_Initialize(&max_set);
  		  		  		  			HAL_Delay(300);
  		   		  		  		}
  			  			break;
	  			break;

	  }

  }
  /* USER CODE END 3 */
}

void SystemClock_Config(void)
{
  RCC_OscInitTypeDef RCC_OscInitStruct = {0};
  RCC_ClkInitTypeDef RCC_ClkInitStruct = {0};

  /** Configure the main internal regulator output voltage
  */
  __HAL_RCC_PWR_CLK_ENABLE();
  __HAL_PWR_VOLTAGESCALING_CONFIG(PWR_REGULATOR_VOLTAGE_SCALE3);
  /** Initializes the CPU, AHB and APB busses clocks
  */
  RCC_OscInitStruct.OscillatorType = RCC_OSCILLATORTYPE_HSI;
  RCC_OscInitStruct.HSIState = RCC_HSI_ON;
  RCC_OscInitStruct.HSICalibrationValue = RCC_HSICALIBRATION_DEFAULT;
  RCC_OscInitStruct.PLL.PLLState = RCC_PLL_ON;
  RCC_OscInitStruct.PLL.PLLSource = RCC_PLLSOURCE_HSI;
  RCC_OscInitStruct.PLL.PLLM = 8;
  RCC_OscInitStruct.PLL.PLLN = 50;
  RCC_OscInitStruct.PLL.PLLP = RCC_PLLP_DIV2;
  RCC_OscInitStruct.PLL.PLLQ = 2;
  RCC_OscInitStruct.PLL.PLLR = 2;
  if (HAL_RCC_OscConfig(&RCC_OscInitStruct) != HAL_OK)
  {
    Error_Handler();
  }
  /** Initializes the CPU, AHB and APB busses clocks
  */
  RCC_ClkInitStruct.ClockType = RCC_CLOCKTYPE_HCLK|RCC_CLOCKTYPE_SYSCLK
                              |RCC_CLOCKTYPE_PCLK1|RCC_CLOCKTYPE_PCLK2;
  RCC_ClkInitStruct.SYSCLKSource = RCC_SYSCLKSOURCE_PLLCLK;
  RCC_ClkInitStruct.AHBCLKDivider = RCC_SYSCLK_DIV1;
  RCC_ClkInitStruct.APB1CLKDivider = RCC_HCLK_DIV2;
  RCC_ClkInitStruct.APB2CLKDivider = RCC_HCLK_DIV1;

  if (HAL_RCC_ClockConfig(&RCC_ClkInitStruct, FLASH_LATENCY_1) != HAL_OK)
  {
    Error_Handler();
  }
}

/* USER CODE BEGIN 4 */
int _write(int file, char *ptr, int len)
{
  HAL_UART_Transmit(&huart1,(uint8_t *)ptr,len,10);
  return len;
}
/* USER CODE END 4 */

void Error_Handler(void)
{
}

/************************ (C) COPYRIGHT STMicroelectronics *****END OF FILE****/
